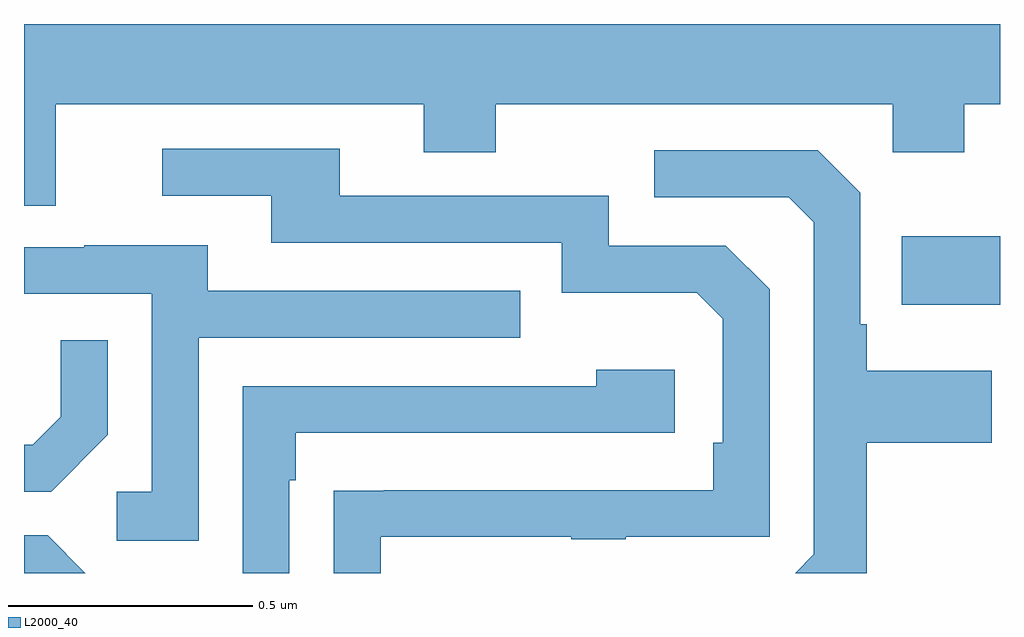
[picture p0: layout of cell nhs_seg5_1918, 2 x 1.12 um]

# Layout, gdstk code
import gdstk
lib = gdstk.Library(unit=1e-6, precision=1e-09)
def R(c, l, rs):  # rectangles x0, y0, x1, y1
    for r in rs: c.add(gdstk.rectangle(r[:2], r[2:], *l))
def P(c, l, *ps):  # polygons
    for p in ps: c.add(gdstk.Polygon(p, *l))
L2000_40 = (2000, 40)

nhs_seg5_1918 = lib.new_cell('nhs_seg5_1918')
R(nhs_seg5_1918, L2000_40, [(138.799,856.349,139,856.489)])
P(nhs_seg5_1918, L2000_40, [(137.065,856.76),(137.819,856.76),(137.819,856.661),(137.967,856.661),(137.967,856.76),(138.78,856.76),(138.78,856.661),(138.927,856.661),(138.927,856.76),(139,856.76),(139,856.924),(137,856.924),(137,856.552),(137.065,856.552)],
  [(137.731,855.873),(138.121,855.873),(138.121,855.868),(138.233,855.868),(138.233,855.873),(138.528,855.873),(138.528,856.38),(138.438,856.47),(138.198,856.47),(138.198,856.572),(137.647,856.572),(137.647,856.668),(137.283,856.668),(137.283,856.572),(137.507,856.572),(137.507,856.476),(138.102,856.476),(138.102,856.373),(138.379,856.373),(138.432,856.32),(138.432,856.066),(138.412,856.066),(138.412,855.969),(137.737,855.969),(137.737,855.968),(137.635,855.968),(137.635,855.799),(137.731,855.799)],
  [(138.727,856.066),(138.983,856.066),(138.983,856.213),(138.727,856.213),(138.727,856.309),(138.714,856.309),(138.714,856.578),(138.627,856.665),(138.291,856.665),(138.291,856.569),(138.567,856.569),(138.618,856.518),(138.618,855.837),(138.58,855.799),(138.727,855.799)],
  [(137.358,856.281),(138.017,856.281),(138.017,856.377),(137.377,856.377),(137.377,856.471),(137.123,856.471),(137.123,856.467),(137,856.467),(137,856.371),(137.262,856.371),(137.262,855.966),(137.19,855.966),(137.19,855.865),(137.358,855.865)],
  [(137.172,856.082),(137.172,856.276),(137.075,856.276),(137.075,856.119),(137.018,856.062),(137,856.062),(137,855.966),(137.056,855.966)],
  [(137.544,855.989),(137.557,855.989),(137.557,856.086),(138.334,856.086),(138.334,856.216),(138.173,856.216),(138.173,856.182),(137.448,856.182),(137.448,855.799),(137.544,855.799)],
  [(137.049,855.876),(137,855.876),(137,855.799),(137.126,855.799)])

lib.write_gds('nhs_seg5_1918.gds')
